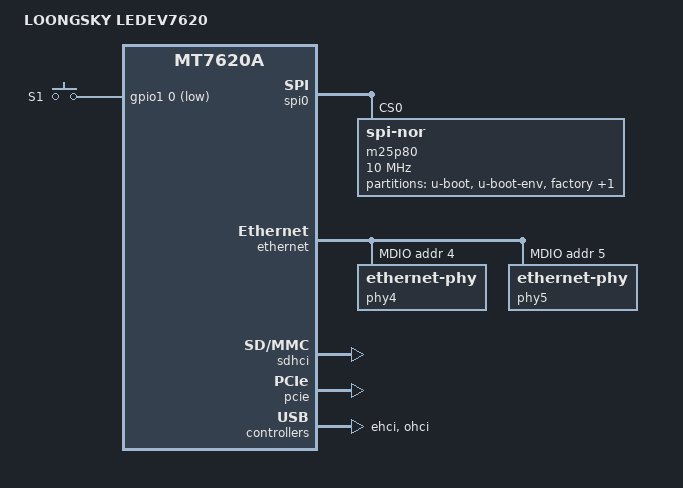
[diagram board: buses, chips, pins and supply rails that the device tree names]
/dts-v1/;

#include "mt7620a.dtsi"

#include <dt-bindings/input/input.h>

/ {
	compatible = "ralink,mt7620a-eval-board", "ralink,mt7620a-soc";
	model = "LOONGSKY LEDEV7620";

	gpio-keys-polled {
		compatible = "gpio-keys";
		#address-cells = <1>;
		#size-cells = <0>;
		poll-interval = <20>;

		s1 {
			label = "S1";
			gpios = <&gpio1 0 1>;
			linux,code = <BTN_0>;
		};
	};
};

&spi0 {
	status = "okay";

	m25p80@0 {
		#address-cells = <1>;
		#size-cells = <1>;
		compatible = "jedec,spi-nor";
		reg = <0>;
		spi-max-frequency = <10000000>;

		partition@0 {
			label = "u-boot";
			reg = <0x0 0x30000>;
			read-only;
		};

		partition@30000 {
			label = "u-boot-env";
			reg = <0x30000 0x10000>;
			read-only;
		};

		factory: partition@40000 {
			label = "factory";
			reg = <0x40000 0x10000>;
			read-only;
		};

		partition@50000 {
			label = "firmware";
			reg = <0x50000 0x7b0000>;
		};
	};
};

&pinctrl {
	state_default: pinctrl0 {
		default {
			ralink,group = "rgmiil";
			ralink,function = "gpio";

			status = "disabled";
		};
	};
};

&ethernet {
	status = "okay";
	pinctrl-names = "default";
	pinctrl-0 = <&rgmii1_pins &rgmii2_pins &mdio_pins>;
	ralink,portmap = "llllw";

	port@4 {
		status = "okay";
		phy-mode = "rgmii";
		phy-handle = <&phy4>;
	};

	port@5 {
		status = "okay";
		phy-mode = "rgmii";
		phy-handle = <&phy5>;
	};

	mdio-bus {
		status = "okay";

		phy4: ethernet-phy@4 {
			reg = <4>;
			phy-mode = "rgmii";
		};

		phy5: ethernet-phy@5 {
			reg = <5>;
			phy-mode = "rgmii";
		};
	};
};

&sdhci {
	status = "okay";
};

&pcie {
	status = "okay";
};

&ehci {
	status = "okay";
};

&ohci {
	status = "okay";
};
